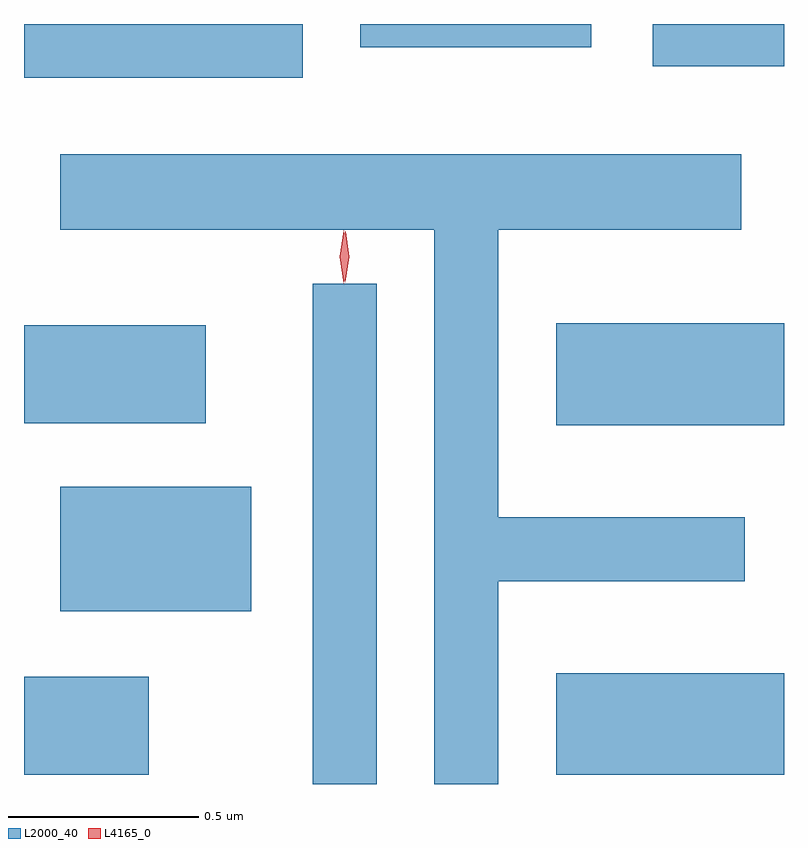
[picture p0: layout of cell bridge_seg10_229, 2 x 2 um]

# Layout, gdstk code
import gdstk
lib = gdstk.Library(unit=1e-6, precision=1e-09)
def R(c, l, rs):  # rectangles x0, y0, x1, y1
    for r in rs: c.add(gdstk.rectangle(r[:2], r[2:], *l))
def P(c, l, *ps):  # polygons
    for p in ps: c.add(gdstk.Polygon(p, *l))
L2000_40 = (2000, 40)
L4165_0 = (4165, 0)

bridge_seg10_229 = lib.new_cell('bridge_seg10_229')
R(bridge_seg10_229, L2000_40, [(1794.791,2140.857,1794.959,2142.173), (1794.031,2140.881,1794.359,2141.139), (1795.431,2140.881,1796.031,2141.149), (1794.126,2141.311,1794.629,2141.639), (1795.431,2141.801,1796.031,2142.069), (1794.031,2141.806,1794.509,2142.064), (1794.031,2142.716,1794.764,2142.857), (1795.686,2142.746,1796.031,2142.857), (1794.916,2142.796,1795.524,2142.857)])
P(bridge_seg10_229, L2000_40, [(1795.279,2141.391),(1795.928,2141.391),(1795.928,2141.559),(1795.279,2141.559),(1795.279,2142.316),(1795.919,2142.316),(1795.919,2142.514),(1794.126,2142.514),(1794.126,2142.316),(1795.111,2142.316),(1795.111,2140.857),(1795.279,2140.857)])
P(bridge_seg10_229, L4165_0, [(1794.876,2142.178),(1794.867,2142.244),(1794.877,2142.31),(1794.877,2142.311),(1794.878,2142.31),(1794.887,2142.244),(1794.877,2142.178),(1794.877,2142.178)],
  [(1794.872,2142.174),(1794.872,2142.175),(1794.862,2142.244),(1794.872,2142.313),(1794.872,2142.314),(1794.873,2142.313),(1794.882,2142.244),(1794.873,2142.175)])

lib.write_gds('bridge_seg10_229.gds')
